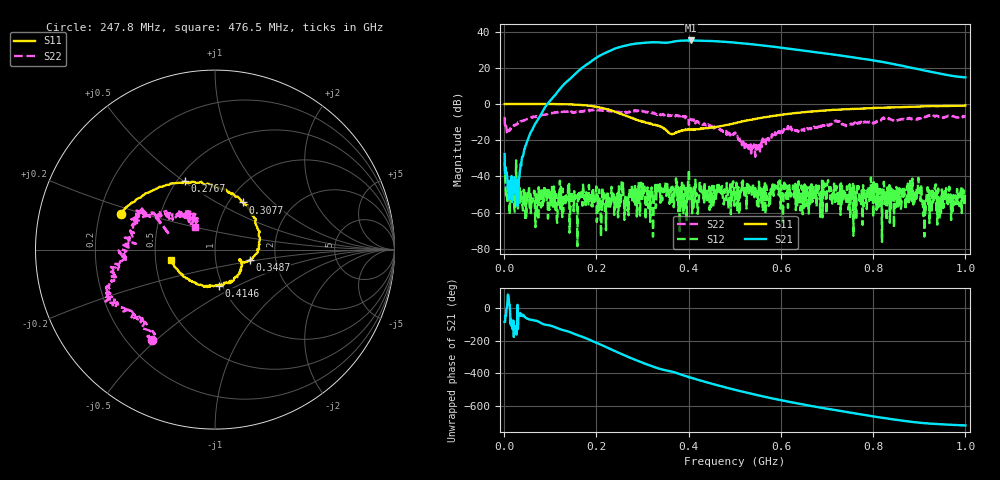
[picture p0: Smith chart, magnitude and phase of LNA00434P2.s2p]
! Created with skrf 1.9.0 (http://scikit-rf.org).
# Hz S RI R 50.0
!freq ReS11 ImS11 ReS21 ImS21 ReS12 ImS12 ReS22 ImS22
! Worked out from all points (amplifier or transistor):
!   1001 points, 1 MHz to 1 GHz, reference 50 ohm
!   highest |S21| = 35.1 dB at 404.6 MHz (marker M1)
!   |S21| within 3 dB of that: 260.4 MHz to 569 MHz (308.6 MHz wide, 74.4 % of centre)
!   unconditionally stable (mu >= 1): 8.598 MHz to 57.37 MHz; 300.7 MHz to 400.5 MHz; 400.6 MHz to end of sweep (the widest 3 of 39)
!   at 166.8 MHz: K = 1.33, MAG = 31.7 dB, |S12| = -50.7 dB
!   at 500.5 MHz: K = 2.54, MAG = 34.4 dB, |S12| = -48.6 dB
!   at 1 GHz: K = 3.46, MAG = 23.1 dB, |S12| = -48.2 dB
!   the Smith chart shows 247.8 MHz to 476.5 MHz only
!   S11 on the Smith chart (normalised r, x): 247.8 MHz: 0.29, +0.17; 276.7 MHz: 0.55, +0.50; 307.7 MHz: 1.16, +0.67; 348.7 MHz: 1.46, -0.18; 414.6 MHz: 0.96, -0.40; 476.5 MHz: 0.60, -0.07
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1000000  0.989 0.00994  0.0023 -0.0412  -0.0218 -0.011  0.2779 0.3309
1.08892e8  0.528 -0.8448  -0.7704 -1.499  0.00145 -0.000611  0.4334 -0.3599
1.67833e8  -0.218 -0.9075  -9.631 -0.7267  -0.00281 -0.00134  0.0397 -0.6206
2.11789e8  -0.6861 -0.3758  -15.53 17.06  -0.000599 0.0012  -0.2044 -0.637
2.29771e8  -0.6755 -0.0665  -9.863 27.91  -0.00093 -0.00112  -0.2787 -0.59
2.47753e8  -0.526 0.1987  2.222 36.27  0.000291 -0.000738  -0.3517 -0.5041
2.76724e8  -0.1681 0.3802  27.55 34.64  -0.00331 0.00452  -0.5552 -0.3207
3.07693e8  0.1539 0.2627  47.07 15.04  -0.00213 -0.00115  -0.5755 -0.1741
3.34666e8  0.248 0.0287  49.46 -8.101  0.00111 0.00371  -0.5094 -0.0417
3.48652e8  0.1925 -0.0585  46.01 -16.87  -0.00438 0.00015  -0.4809 0.0469
3.75625e8  0.1487 -0.0765  42.54 -34.43  0.000254 0.00215  -0.4394 0.2005
4.04596e8  0.0816 -0.1818  23.59 -51.48  -0.0012 0.00438  -0.3177 0.1868
4.14586e8  0.0208 -0.202  15.9 -53.96  0.00568 0.00583  -0.2432 0.1598
4.45555e8  -0.1276 -0.1767  -7.935 -54.1  0.000518 -0.00106  -0.1323 0.1885
4.76524e8  -0.247 -0.0569  -27.5 -44.19  0.00109 -0.00129  -0.1111 0.1277
5.005e8  -0.2846 0.0675  -37.46 -32.48  -0.00356 -0.00103  -0.1001 0.1289
5.4046e8  -0.2483 0.2897  -42.53 -10.88  0.000813 0.00362  -0.0585 -0.023
5.88412e8  -0.0648 0.4733  -36.19 10.04  0.00252 -0.00418  -0.1184 -0.0706
6.67333e8  0.3112 0.5385  -14.56 23.32  -0.00165 -0.0042  -0.2233 -0.0511
7.55245e8  0.6259 0.3742  3.291 19.17  -0.000596 -0.00239  -0.2804 0.0289
8.34166e8  0.7833 0.1523  9.431 9.523  -0.00122 -0.00297  -0.3761 0.0532
1e9  0.8198 -0.3778  5.399 0.4468  -0.00389 0.000148  -0.2399 0.3851
